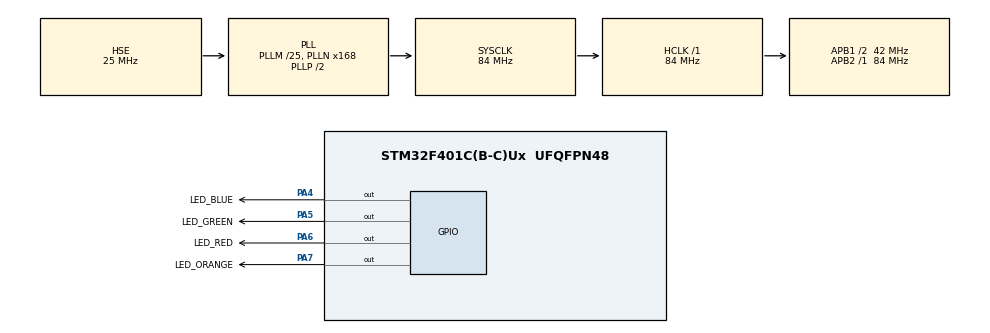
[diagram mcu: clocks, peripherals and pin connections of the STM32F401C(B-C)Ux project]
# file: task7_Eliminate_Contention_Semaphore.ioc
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FREERTOS.BinarySemaphores01=CriticalResourceSemaphore,Dynamic,NULL,Available
FREERTOS.Tasks01=GreenLEDTask,24,128,StartGreenLEDTask,Default,NULL,Dynamic,NULL,NULL;RedLEDTask,24,128,StartRedLEDTask,Default,NULL,Dynamic,NULL,NULL;OrangeLEDTask,32,128,StartOrangeLEDTask,Default,NULL,Dynamic,NULL,NULL
Mcu.Family=STM32F4
Mcu.Name=STM32F401C(B-C)Ux
Mcu.Package=UFQFPN48
NVIC.PriorityGroup=NVIC_PRIORITYGROUP_4
NVIC.TIM4_IRQn=true\:15\:0\:false\:false\:true\:false\:false\:true\:true
NVIC.TimeBase=TIM4_IRQn
NVIC.TimeBaseIP=TIM4
PA13.Mode=Serial_Wire
PA13.Signal=SYS_JTMS-SWDIO
PA14.Mode=Serial_Wire
PA14.Signal=SYS_JTCK-SWCLK
PA4.GPIO_Label=LED_BLUE
PA4.Signal=GPIO_Output
PA5.GPIO_Label=LED_GREEN
PA5.Signal=GPIO_Output
PA6.GPIO_Label=LED_RED
PA6.Signal=GPIO_Output
PA7.GPIO_Label=LED_ORANGE
PA7.Signal=GPIO_Output
PH0\ -\ OSC_IN.Mode=HSE-External-Oscillator
PH0\ -\ OSC_IN.Signal=RCC_OSC_IN
PH1\ -\ OSC_OUT.Mode=HSE-External-Oscillator
PH1\ -\ OSC_OUT.Signal=RCC_OSC_OUT
ProjectManager.HeapSize=0x200
ProjectManager.StackSize=0x400
ProjectManager.TargetToolchain=STM32CubeIDE
RCC.48MHZClocksFreq_Value=42000000
RCC.AHBFreq_Value=84000000
RCC.APB1CLKDivider=RCC_HCLK_DIV2
RCC.APB1Freq_Value=42000000
RCC.APB1TimFreq_Value=84000000
RCC.APB2Freq_Value=84000000
RCC.APB2TimFreq_Value=84000000
RCC.CortexFreq_Value=84000000
RCC.HCLKFreq_Value=84000000
RCC.HSE_VALUE=25000000
RCC.HSI_VALUE=16000000
RCC.LSE_VALUE=32768
RCC.PLLM=25
RCC.PLLN=168
RCC.PLLSourceVirtual=RCC_PLLSOURCE_HSE
RCC.SYSCLKFreq_VALUE=84000000
RCC.SYSCLKSource=RCC_SYSCLKSOURCE_PLLCLK
RCC.VCOOutputFreq_Value=168000000
TIM2.Prescaler=84-1
VP_FREERTOS_VS_CMSIS_V2.Mode=CMSIS_V2
VP_SYS_VS_tim4.Mode=TIM4
VP_TIM2_VS_ClockSourceINT.Mode=Internal
board=custom

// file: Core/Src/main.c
/* USER CODE BEGIN Header */
/**
  ******************************************************************************
  * @file           : main.c
  * @brief          : Main program body
  ******************************************************************************
  * @attention
  *
  * Copyright (c) 2024 STMicroelectronics.
  * All rights reserved.
  *
  * This software is licensed under terms that can be found in the LICENSE file
  * in the root directory of this software component.
  * If no LICENSE file comes with this software, it is provided AS-IS.
  *
  ******************************************************************************
  */
/* USER CODE END Header */
#include "main.h"
#include "cmsis_os.h"

TIM_HandleTypeDef htim2;

/* Definitions for GreenLEDTask */
osThreadId_t GreenLEDTaskHandle;
const osThreadAttr_t GreenLEDTask_attributes = {
  .name = "GreenLEDTask",
  .stack_size = 128 * 4,
  .priority = (osPriority_t) osPriorityNormal,
};
/* Definitions for RedLEDTask */
osThreadId_t RedLEDTaskHandle;
const osThreadAttr_t RedLEDTask_attributes = {
  .name = "RedLEDTask",
  .stack_size = 128 * 4,
  .priority = (osPriority_t) osPriorityNormal,
};
/* Definitions for OrangeLEDTask */
osThreadId_t OrangeLEDTaskHandle;
const osThreadAttr_t OrangeLEDTask_attributes = {
  .name = "OrangeLEDTask",
  .stack_size = 128 * 4,
  .priority = (osPriority_t) osPriorityAboveNormal,
};
/* Definitions for CriticalResourceSemaphore */
osSemaphoreId_t CriticalResourceSemaphoreHandle;
const osSemaphoreAttr_t CriticalResourceSemaphore_attributes = {
  .name = "CriticalResourceSemaphore"
};

void SystemClock_Config(void);
static void MX_GPIO_Init(void);
static void MX_TIM2_Init(void);
void StartGreenLEDTask(void *argument);
void StartRedLEDTask(void *argument);
void StartOrangeLEDTask(void *argument);

/* USER CODE BEGIN PFP */

uint32_t count = 0;
int flag = 1;
void AccessSharedData()
{
	if (flag) flag = 0;
	else HAL_GPIO_WritePin(LED_BLUE_GPIO_Port, LED_BLUE_Pin, GPIO_PIN_SET);

	HAL_GPIO_WritePin(LED_BLUE_GPIO_Port, LED_BLUE_Pin, GPIO_PIN_SET);
	TIM2->CNT = 0;
	count = 0;
	HAL_TIM_Base_Start(&htim2);
	while (TIM2->CNT < 1000000)
	{
		count = TIM2->CNT;
	}
	HAL_TIM_Base_Stop(&htim2);

	HAL_GPIO_WritePin(LED_BLUE_GPIO_Port, LED_BLUE_Pin, GPIO_PIN_RESET);

	flag = 1;
}

/* USER CODE END PFP */

int main(void)
{

  /* MCU Configuration--------------------------------------------------------*/

  /* Reset of all peripherals, Initializes the Flash interface and the Systick. */
  HAL_Init();

  /* Configure the system clock */
  SystemClock_Config();

  /* Initialize all configured peripherals */
  MX_GPIO_Init();
  MX_TIM2_Init();

  /* Init scheduler */
  osKernelInitialize();

  /* Create the semaphores(s) */
  /* creation of CriticalResourceSemaphore */
  CriticalResourceSemaphoreHandle = osSemaphoreNew(1, 1, &CriticalResourceSemaphore_attributes);

  /* Create the thread(s) */
  /* creation of GreenLEDTask */
  GreenLEDTaskHandle = osThreadNew(StartGreenLEDTask, NULL, &GreenLEDTask_attributes);

  /* creation of RedLEDTask */
  RedLEDTaskHandle = osThreadNew(StartRedLEDTask, NULL, &RedLEDTask_attributes);

  /* creation of OrangeLEDTask */
  OrangeLEDTaskHandle = osThreadNew(StartOrangeLEDTask, NULL, &OrangeLEDTask_attributes);

  /* Start scheduler */
  osKernelStart();

  /* We should never get here as control is now taken by the scheduler */

  /* Infinite loop */
  while (1)
  {

  }
}

void SystemClock_Config(void)
{
  RCC_OscInitTypeDef RCC_OscInitStruct = {0};
  RCC_ClkInitTypeDef RCC_ClkInitStruct = {0};

  /** Configure the main internal regulator output voltage
  */
  __HAL_RCC_PWR_CLK_ENABLE();
  __HAL_PWR_VOLTAGESCALING_CONFIG(PWR_REGULATOR_VOLTAGE_SCALE2);

  /** Initializes the RCC Oscillators according to the specified parameters
  * in the RCC_OscInitTypeDef structure.
  */
  RCC_OscInitStruct.OscillatorType = RCC_OSCILLATORTYPE_HSE;
  RCC_OscInitStruct.HSEState = RCC_HSE_ON;
  RCC_OscInitStruct.PLL.PLLState = RCC_PLL_ON;
  RCC_OscInitStruct.PLL.PLLSource = RCC_PLLSOURCE_HSE;
  RCC_OscInitStruct.PLL.PLLM = 25;
  RCC_OscInitStruct.PLL.PLLN = 168;
  RCC_OscInitStruct.PLL.PLLP = RCC_PLLP_DIV2;
  RCC_OscInitStruct.PLL.PLLQ = 4;
  if (HAL_RCC_OscConfig(&RCC_OscInitStruct) != HAL_OK)
  {
    Error_Handler();
  }

  /** Initializes the CPU, AHB and APB buses clocks
  */
  RCC_ClkInitStruct.ClockType = RCC_CLOCKTYPE_HCLK|RCC_CLOCKTYPE_SYSCLK
                              |RCC_CLOCKTYPE_PCLK1|RCC_CLOCKTYPE_PCLK2;
  RCC_ClkInitStruct.SYSCLKSource = RCC_SYSCLKSOURCE_PLLCLK;
  RCC_ClkInitStruct.AHBCLKDivider = RCC_SYSCLK_DIV1;
  RCC_ClkInitStruct.APB1CLKDivider = RCC_HCLK_DIV2;
  RCC_ClkInitStruct.APB2CLKDivider = RCC_HCLK_DIV1;

  if (HAL_RCC_ClockConfig(&RCC_ClkInitStruct, FLASH_LATENCY_2) != HAL_OK)
  {
    Error_Handler();
  }
}

static void MX_TIM2_Init(void)
{

  TIM_ClockConfigTypeDef sClockSourceConfig = {0};
  TIM_MasterConfigTypeDef sMasterConfig = {0};

  htim2.Instance = TIM2;
  htim2.Init.Prescaler = 84-1;
  htim2.Init.CounterMode = TIM_COUNTERMODE_UP;
  htim2.Init.Period = 4294967295;
  htim2.Init.ClockDivision = TIM_CLOCKDIVISION_DIV1;
  htim2.Init.AutoReloadPreload = TIM_AUTORELOAD_PRELOAD_DISABLE;
  if (HAL_TIM_Base_Init(&htim2) != HAL_OK)
  {
    Error_Handler();
  }
  sClockSourceConfig.ClockSource = TIM_CLOCKSOURCE_INTERNAL;
  if (HAL_TIM_ConfigClockSource(&htim2, &sClockSourceConfig) != HAL_OK)
  {
    Error_Handler();
  }
  sMasterConfig.MasterOutputTrigger = TIM_TRGO_RESET;
  sMasterConfig.MasterSlaveMode = TIM_MASTERSLAVEMODE_DISABLE;
  if (HAL_TIMEx_MasterConfigSynchronization(&htim2, &sMasterConfig) != HAL_OK)
  {
    Error_Handler();
  }

}

static void MX_GPIO_Init(void)
{
  GPIO_InitTypeDef GPIO_InitStruct = {0};

  /* GPIO Ports Clock Enable */
  __HAL_RCC_GPIOH_CLK_ENABLE();
  __HAL_RCC_GPIOA_CLK_ENABLE();

  /*Configure GPIO pin Output Level */
  HAL_GPIO_WritePin(GPIOA, LED_BLUE_Pin|LED_GREEN_Pin|LED_RED_Pin|LED_ORANGE_Pin, GPIO_PIN_RESET);

  /*Configure GPIO pins : LED_BLUE_Pin LED_GREEN_Pin LED_RED_Pin LED_ORANGE_Pin */
  GPIO_InitStruct.Pin = LED_BLUE_Pin|LED_GREEN_Pin|LED_RED_Pin|LED_ORANGE_Pin;
  GPIO_InitStruct.Mode = GPIO_MODE_OUTPUT_PP;
  GPIO_InitStruct.Pull = GPIO_NOPULL;
  GPIO_InitStruct.Speed = GPIO_SPEED_FREQ_LOW;
  HAL_GPIO_Init(GPIOA, &GPIO_InitStruct);

}

void StartGreenLEDTask(void *argument)
{
  /* USER CODE BEGIN 5 */
  /* Infinite loop */
  for(;;)
  {
	  HAL_GPIO_WritePin(LED_GREEN_GPIO_Port, LED_GREEN_Pin, GPIO_PIN_SET);

	  osSemaphoreAcquire(CriticalResourceSemaphoreHandle, osWaitForever);
	  AccessSharedData();
	  osSemaphoreRelease(CriticalResourceSemaphoreHandle);

	  osDelay(200);
	  HAL_GPIO_WritePin(LED_GREEN_GPIO_Port, LED_GREEN_Pin, GPIO_PIN_RESET);
	  osDelay(200);
  }
  /* USER CODE END 5 */
}

void StartRedLEDTask(void *argument)
{
  /* USER CODE BEGIN StartRedLEDTask */
  /* Infinite loop */
  for(;;)
  {
	  HAL_GPIO_WritePin(LED_RED_GPIO_Port, LED_RED_Pin, GPIO_PIN_SET);

	  osSemaphoreAcquire(CriticalResourceSemaphoreHandle, osWaitForever);
	  AccessSharedData();
	  osSemaphoreRelease(CriticalResourceSemaphoreHandle);

	  osDelay(550);
	  HAL_GPIO_WritePin(LED_RED_GPIO_Port, LED_RED_Pin, GPIO_PIN_RESET);
	  osDelay(550);
  }
  /* USER CODE END StartRedLEDTask */
}

void StartOrangeLEDTask(void *argument)
{
  /* USER CODE BEGIN StartOrangeLEDTask */
	osSemaphoreRelease(CriticalResourceSemaphoreHandle);
  /* Infinite loop */
  for(;;)
  {
	  HAL_GPIO_TogglePin(LED_ORANGE_GPIO_Port, LED_ORANGE_Pin);
	  osDelay(50);
  }
  /* USER CODE END StartOrangeLEDTask */
}

void HAL_TIM_PeriodElapsedCallback(TIM_HandleTypeDef *htim)
{
  if (htim->Instance == TIM4) {
    HAL_IncTick();
  }
}

void Error_Handler(void)
{
  __disable_irq();
  while (1)
  {
  }
}
